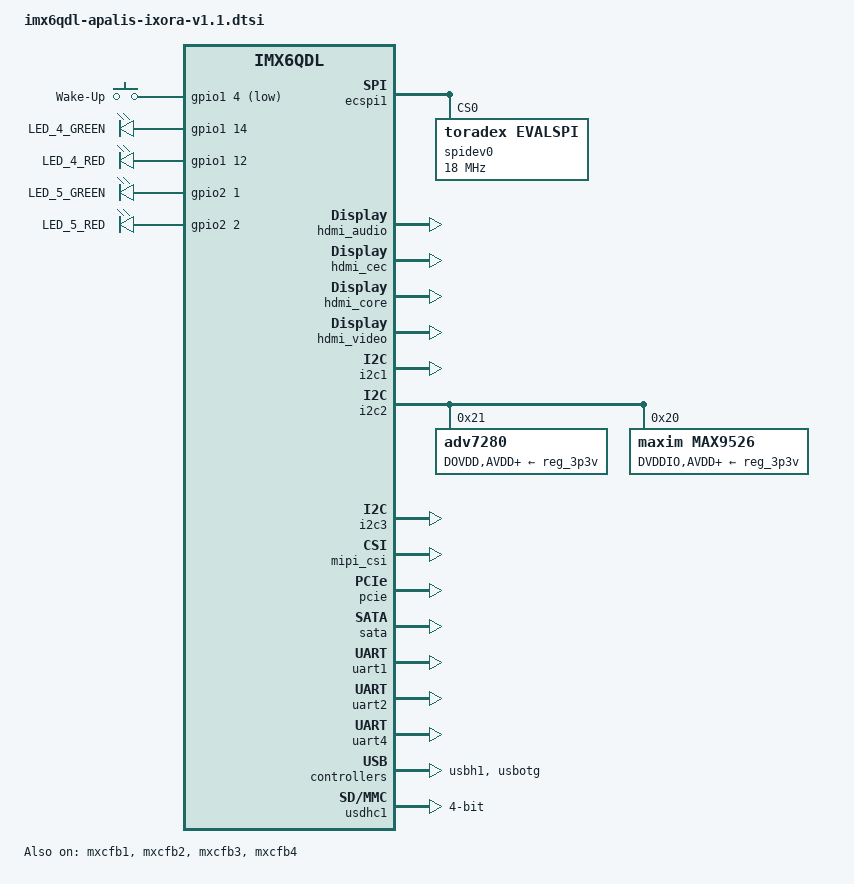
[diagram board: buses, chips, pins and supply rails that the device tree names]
/*
 * Copyright 2014-2017 Toradex AG
 * Copyright 2012 Freescale Semiconductor, Inc.
 * Copyright 2011 Linaro Ltd.
 *
 * The code contained herein is licensed under the GNU General Public
 * License. You may obtain a copy of the GNU General Public License
 * Version 2 or later at the following locations:
 *
 * http://www.opensource.org/licenses/gpl-license.html
 * http://www.gnu.org/copyleft/gpl.html
 */

/ {
	aliases {
		i2c1 = &i2c1;
		i2c2 = &i2c2;
		i2c3 = &i2c3;
	};

	aliases {
		/* the following, together with kernel patches, forces a fixed assignment
		   between device id and usdhc controller */
		/* i.e. the eMMC on usdhc3 will be /dev/mmcblk0 */
		mmc0 = &usdhc3; /* eMMC */
		mmc1 = &usdhc1; /* MMC1  4bit slot */
	};

	aliases {
		rtc1 = &snvs_rtc;
	};

	gpio-keys {
		compatible = "gpio-keys";
		pinctrl-names = "default";
		pinctrl-0 = <&pinctrl_gpio_keys>;

		wakeup {
			label = "Wake-Up";
			gpios = <&gpio1 4 GPIO_ACTIVE_LOW>;
			linux,code = <KEY_WAKEUP>;
			debounce-interval = <10>;
			gpio-key,wakeup;
		};
	};

	leds {
		compatible = "gpio-leds";

		pinctrl-names = "default";
		pinctrl-0 = <&pinctrl_leds_ixora>;

		led4-green {
			label = "LED_4_GREEN";
			gpios = <&gpio1 14 GPIO_ACTIVE_HIGH>;
		};

		led4-red {
			label = "LED_4_RED";
			gpios = <&gpio1 12 GPIO_ACTIVE_HIGH>;
		};

		led5-green {
			label = "LED_5_GREEN";
			gpios = <&gpio2 1 GPIO_ACTIVE_HIGH>;
		};

		led5-red {
			label = "LED_5_RED";
			gpios = <&gpio2 2 GPIO_ACTIVE_HIGH>;
		};
	};

	v4l2_cap_0 {
		compatible = "fsl,imx6q-v4l2-capture";
		ipu_id = <0>;
		csi_id = <0>;
		mclk_source = <0>;
		status = "okay";
	};

	v4l2_cap_2 { // mipi-csi2 camera
		compatible = "fsl,imx6q-v4l2-capture";
		ipu_id = <0>;
		csi_id = <1>;
		mclk_source = <0>;
		status = "okay";
	};

#if 0
	v4l2_out {
		compatible = "fsl,mxc_v4l2_output";
		status = "okay";
	};
#endif
};

/* Apalis SPI1 */
&ecspi1 {
	status = "okay";

	spidev0: spidev@1 {
		compatible = "toradex,evalspi";
		reg = <0>;
		spi-max-frequency = <18000000>;
	};
};

&hdmi_audio {
	status = "okay";
};

&hdmi_cec {
	status = "okay";
};

&hdmi_core {
	status = "okay";
};

&hdmi_video {
	status = "okay";
};

/*
 * GEN1_I2C: I2C1_SDA/SCL - IR Sensor I2C
 */
&i2c1 {
	status = "okay";
};

/*
 * GEN2_I2C: I2C2_SDA/SCL - LED I2c
 */
&i2c2 {
	status = "okay";

	adv7280: adv7280@21 {
		compatible = "adv7280";
		reg = <0x21>;
		pinctrl-names = "default";
		pinctrl-0 = <&pinctrl_ipu1_csi0 &pinctrl_cam_mclk>;
		clocks = <&clks 200>;
		clock-names = "csi_mclk";
		DOVDD-supply = <&reg_3p3v>;
		AVDD-supply = <&reg_3p3v>;
		DVDD-supply = <&reg_3p3v>;
		PVDD-supply = <&reg_3p3v>;
		csi_id = <0>;
		mclk = <24000000>;
		mclk_source = <1>;
		status = "okay";
	};

	/* Video ADC on Analog Camera Module */
	adv7180: adv7180@21 {
		compatible = "adv,adv7180";
		reg = <0x21>;
		pinctrl-names = "default";
		pinctrl-0 = <&pinctrl_ipu1_csi0 &pinctrl_cam_mclk>;
		clocks = <&clks 200>;
		clock-names = "csi_mclk";
		DOVDD-supply = <&reg_3p3v>; /* 3.3v */
		AVDD-supply = <&reg_3p3v>;  /* 1.8v */
		DVDD-supply = <&reg_3p3v>;  /* 1.8v */
		PVDD-supply = <&reg_3p3v>;  /* 1.8v */
		csi_id = <0>;
		mclk = <24000000>;
		mclk_source = <1>;
		cvbs = <1>;
		status = "disabled";
	};

	max9526: max9526@20 {
		compatible = "maxim,max9526";
		reg = <0x20>;
		pinctrl-names = "default";
		pinctrl-0 = <&pinctrl_ipu1_csi0 &pinctrl_cam_mclk>;
		clocks = <&clks 200>;
		clock-names = "csi_mclk";
		DVDDIO-supply = <&reg_3p3v>; /* 3.3v */
		AVDD-supply = <&reg_3p3v>;  /* 1.8v */
		DVDD-supply = <&reg_3p3v>;  /* 1.8v */
		csi_id = <0>;
		mclk = <24000000>;
		mclk_source = <1>;
		cvbs = <1>;
		status = "okay";
	};

};

/*
 * GEN3_I2C, CAM: I2C3_SDA/SCL - Pressure Sensor I2C
 */
&i2c3 {
	status = "okay";
};

&iomuxc {

	pinctrl_leds_ixora: leds-ixora {
		fsl,pins = <
			MX6QDL_PAD_SD2_DAT1__GPIO1_IO14 PAD_CTRL_HYS_PU
			MX6QDL_PAD_SD2_DAT3__GPIO1_IO12 PAD_CTRL_HYS_PU
			MX6QDL_PAD_NANDF_D1__GPIO2_IO01 PAD_CTRL_HYS_PU
			MX6QDL_PAD_NANDF_D2__GPIO2_IO02 PAD_CTRL_HYS_PU
		>;
	};
};

&mipi_csi {
	ipu_id = <0>;
	csi_id = <1>;
	v_channel = <0>;
	lanes = <2>;
	status = "okay";
};

&mxcfb1 {
	status = "okay";
};

&mxcfb2 {
	status = "okay";
};

&mxcfb3 {
	status = "okay";
};

&mxcfb4 {
	status = "okay";
};

&pcie {
	reset-ep-gpio = <&gpio1 28 GPIO_ACTIVE_HIGH>;
	status = "okay";
};

&reg_usb_otg_vbus {
	status = "okay";
};

&reg_usb_host_vbus {
	status = "okay";
};

&sata {
	status = "okay";
};

&sound_hdmi {
	status = "okay";
};

&uart1 {
	status = "okay";
};

&uart2 {
	status = "okay";
#if 0
	linux,rs485-enabled-at-boot-time;
	rs485-rts-active-low;
	rs485-rx-during-tx;
#endif
};

&uart4 {
	status = "okay";
};

&usbh1 {
	status = "okay";
};

&usbotg {
	status = "okay";
};

/* MMC1 */
&usdhc1 {
	pinctrl-names = "default";
	pinctrl-0 = <&pinctrl_mmc_cd>;
	bus-width = <4>;
	status = "okay";
};
